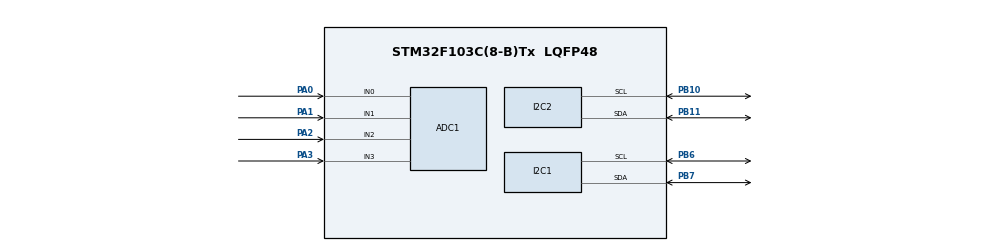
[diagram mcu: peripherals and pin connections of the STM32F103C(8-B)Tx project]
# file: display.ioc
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ADC1.Channel-0\#ChannelRegularConversion=ADC_CHANNEL_0
ADC1.Channel-1\#ChannelRegularConversion=ADC_CHANNEL_1
ADC1.Channel-2\#ChannelRegularConversion=ADC_CHANNEL_2
ADC1.Channel-3\#ChannelRegularConversion=ADC_CHANNEL_3
ADC1.ContinuousConvMode=ENABLE
ADC1.NbrOfConversion=4
ADC1.NbrOfConversionFlag=1
ADC1.Rank-0\#ChannelRegularConversion=1
ADC1.Rank-1\#ChannelRegularConversion=2
ADC1.Rank-2\#ChannelRegularConversion=3
ADC1.Rank-3\#ChannelRegularConversion=4
ADC1.SamplingTime-0\#ChannelRegularConversion=ADC_SAMPLETIME_13CYCLES_5
ADC1.SamplingTime-1\#ChannelRegularConversion=ADC_SAMPLETIME_13CYCLES_5
ADC1.SamplingTime-2\#ChannelRegularConversion=ADC_SAMPLETIME_13CYCLES_5
ADC1.SamplingTime-3\#ChannelRegularConversion=ADC_SAMPLETIME_13CYCLES_5
ADC1.master=1
Dma.ADC1.0.Direction=DMA_PERIPH_TO_MEMORY
Dma.ADC1.0.Instance=DMA1_Channel1
Dma.ADC1.0.MemDataAlignment=DMA_MDATAALIGN_WORD
Dma.ADC1.0.MemInc=DMA_MINC_ENABLE
Dma.ADC1.0.Mode=DMA_CIRCULAR
Dma.ADC1.0.PeriphDataAlignment=DMA_PDATAALIGN_WORD
Dma.ADC1.0.PeriphInc=DMA_PINC_DISABLE
Dma.ADC1.0.Priority=DMA_PRIORITY_LOW
Dma.Request0=ADC1
I2C1.I2C_Mode=I2C_Fast
Mcu.Family=STM32F1
Mcu.Name=STM32F103C(8-B)Tx
Mcu.Package=LQFP48
NVIC.DMA1_Channel1_IRQn=true\:0\:0\:false\:false\:true\:false\:true
NVIC.I2C1_ER_IRQn=true\:0\:0\:false\:false\:true\:true\:true
NVIC.I2C2_ER_IRQn=true\:0\:0\:false\:false\:true\:true\:true
NVIC.PriorityGroup=NVIC_PRIORITYGROUP_4
PA0-WKUP.Signal=ADCx_IN0
PA1.Signal=ADCx_IN1
PA2.Signal=ADCx_IN2
PA3.Signal=ADCx_IN3
PB10.Mode=I2C
PB10.Signal=I2C2_SCL
PB11.Mode=I2C
PB11.Signal=I2C2_SDA
PB6.Mode=I2C
PB6.Signal=I2C1_SCL
PB7.Mode=I2C
PB7.Signal=I2C1_SDA
ProjectManager.HeapSize=0x200
ProjectManager.StackSize=0x400
ProjectManager.TargetToolchain=STM32CubeIDE
RCC.ADCPresc=RCC_ADCPCLK2_DIV8
RCC.APB1Freq_Value=8000000
RCC.APB2CLKDivider=RCC_HCLK_DIV4
RCC.APB2Freq_Value=2000000
RCC.APB2TimFreq_Value=4000000
SH.ADCx_IN0.0=ADC1_IN0,IN0
SH.ADCx_IN1.0=ADC1_IN1,IN1
SH.ADCx_IN2.0=ADC1_IN2,IN2
SH.ADCx_IN3.0=ADC1_IN3,IN3
VP_SYS_VS_ND.Mode=No_Debug
board=custom

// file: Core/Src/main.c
/* USER CODE BEGIN Header */
/**
  ******************************************************************************
  * @file           : main.c
  * @brief          : Main program body
  ******************************************************************************
  * @attention
  *
  * Copyright (c) 2021 STMicroelectronics.
  * All rights reserved.
  *
  * This software is licensed under terms that can be found in the LICENSE file
  * in the root directory of this software component.
  * If no LICENSE file comes with this software, it is provided AS-IS.
  *
  ******************************************************************************
  */
/* USER CODE END Header */
#include "main.h"

/* USER CODE BEGIN Includes */
#include "ssd1306.h"
#include "fonts.h"
/* USER CODE END Includes */

ADC_HandleTypeDef hadc1;

I2C_HandleTypeDef hi2c1;
I2C_HandleTypeDef hi2c2;

void SystemClock_Config(void);
static void MX_GPIO_Init(void);
static void MX_I2C1_Init(void);
static void MX_I2C2_Init(void);
static void MX_ADC1_Init(void);

/* USER CODE BEGIN 0 */

float t = 0;
float p = 0;
uint8_t pointer_p1 = 0x01;
uint8_t dataDAC [3] = {0x40, 0xFF, 0xFF};

char* trimm(float f)
{
	static char trimmed [4];

	f *= 100;
	uint16_t g = f;
	itoa(g, trimmed, 10);

	if(g<10)
	{
		trimmed[3] = trimmed[0];
		trimmed[2] = '0';
		trimmed[1] = '0';
		trimmed[0] = ' ';

	}
	if((g<100)&&(g>9))
	{
		trimmed[3] = trimmed[1];
		trimmed[2] = trimmed[0];
		trimmed[1] = '0';
		trimmed[0] = ' ';

	}
	if((g<1000)&&(g>99))
	{
		for(uint8_t i = 3; i>0; i--)
		{
			trimmed[i] = trimmed[i-1];
		}
		trimmed[0] = ' ';

	}

	return trimmed;
}
void drawlogoC (uint8_t x, uint8_t y){
	  SSD1306_DrawLine((5+x), (y+5), (5+x), (y+11), 1);
	  SSD1306_DrawLine((6+x), (y+3), (6+x), (y+13), 1);
	  SSD1306_DrawLine((7+x), (y+3), (7+x), (y+5), 1);
	  SSD1306_DrawLine((7+x), (y+11), (7+x), (y+13), 1);
	  SSD1306_DrawLine((8+x), (y+14), (10+x), (y+14), 1);
	  SSD1306_DrawLine((8+x), (y+13), (10+x), (y+13), 1);
	  SSD1306_DrawLine((8+x), (y+2), (10+x), (y+2), 1);
	  SSD1306_DrawLine((8+x), (y+3), (10+x), (y+3), 1);
	  SSD1306_DrawLine((11+x), (y+3), (11+x), (y+4), 1);
	  SSD1306_DrawLine((11+x), (y+13), (11+x), (y+12), 1);
	  SSD1306_DrawLine((12+x), (y+4), (12+x), (y+6), 1);
	  SSD1306_DrawLine((12+x), (y+12), (12+x), (y+10), 1);
}
void drawmenu1(uint8_t cursorm1, uint8_t cvcc, float x, float y)
{
	  SSD1306_Clear();
	  cursorm1 = ~cursorm1;
	  char* mecha = trimm(y);
	  SSD1306_GotoXY (26,3);
	  SSD1306_Putc (mecha[0], &Font_11x18, ((cursorm1 & 0x08)>>3));
	  SSD1306_GotoXY (37,3);
	  SSD1306_Putc (mecha[1], &Font_11x18, ((cursorm1 & 0x04)>>2));
	  SSD1306_GotoXY (48,3);
	  SSD1306_Putc(',', &Font_11x18, 1);
	  SSD1306_GotoXY (59,3);
	  SSD1306_Putc (mecha[2], &Font_11x18, ((cursorm1 & 0x02)>>1));
	  SSD1306_GotoXY (70,3);
	  SSD1306_Putc (mecha[3], &Font_11x18, (cursorm1 & 0x01));
	  SSD1306_GotoXY (107,3);
	  SSD1306_Putc('V', &Font_11x18, 1);
	  char* proud = trimm(x);
	  SSD1306_GotoXY (26,25);
	  SSD1306_Putc (proud[0], &Font_11x18, ((cursorm1 & 0x80)>>7));
	  SSD1306_GotoXY (37,25);
	  SSD1306_Putc (proud[1], &Font_11x18, ((cursorm1 & 0x40)>>6));
	  SSD1306_GotoXY (48,25);
	  SSD1306_Putc(',', &Font_11x18, 1);
	  SSD1306_GotoXY (59,25);
	  SSD1306_Putc (proud[2], &Font_11x18, ((cursorm1 & 0x20)>>5));
	  SSD1306_GotoXY (70,25);
	  SSD1306_Putc (proud[3], &Font_11x18, ((cursorm1 & 0x10)>>4));
	  SSD1306_GotoXY (107,25);
	  SSD1306_Putc('A', &Font_11x18, 1);
	  uint8_t xcvcc = 0;
	  uint8_t ycvcc = 0;
	  if (cvcc) {
		  xcvcc = 81;
		  ycvcc = 45;
		  drawlogoC(92, ycvcc);
		  SSD1306_DrawLine((5+xcvcc), (ycvcc+2), (5+xcvcc), (ycvcc+6), 1);
		  SSD1306_DrawLine((13+xcvcc), (ycvcc+2), (13+xcvcc), (ycvcc+6), 1);
		  SSD1306_DrawLine((6+xcvcc), (ycvcc+2), (6+xcvcc), (ycvcc+11), 1);
		  SSD1306_DrawLine((12+xcvcc), (ycvcc+2), (12+xcvcc), (ycvcc+11), 1);
		  SSD1306_DrawLine((7+xcvcc), (ycvcc+6), (7+xcvcc), (ycvcc+13), 1);
		  SSD1306_DrawLine((11+xcvcc), (ycvcc+6), (11+xcvcc), (ycvcc+13), 1);
		  SSD1306_DrawLine((8+xcvcc), (ycvcc+11), (8+xcvcc), (ycvcc+14), 1);
		  SSD1306_DrawLine((10+xcvcc), (ycvcc+11), (10+xcvcc), (ycvcc+14), 1);
		  SSD1306_DrawPixel((9+xcvcc), (ycvcc+13), 1);
		  SSD1306_DrawPixel((9+xcvcc), (ycvcc+14), 1);
	  } else {
		  xcvcc = 20;
		  ycvcc = 45;
		  drawlogoC(xcvcc, ycvcc);
		  drawlogoC((xcvcc+10), ycvcc);
	  }
	  SSD1306_DrawLine((2+xcvcc), ycvcc , (25+xcvcc), ycvcc, 1);
	  SSD1306_DrawLine(xcvcc, (ycvcc+2), xcvcc, (ycvcc+15), 1);
	  SSD1306_DrawLine((2+xcvcc), (ycvcc+17), (25+xcvcc), (ycvcc+17), 1);
	  SSD1306_DrawLine((27+xcvcc), (ycvcc+2), (27+xcvcc), (ycvcc+15), 1);
	  SSD1306_DrawPixel((1+xcvcc), (ycvcc+1), 1);
	  SSD1306_DrawPixel((1+xcvcc), (ycvcc+16), 1);
	  SSD1306_DrawPixel((26+xcvcc), (ycvcc+1), 1);
	  SSD1306_DrawPixel((26+xcvcc), (ycvcc+16), 1);

	  SSD1306_UpdateScreen(); // update screen
}
void setDAC1 (uint16_t data)
{
	dataDAC [1] = (data >> 4);
	dataDAC [2] = (data << 4) & 0xf0;
	HAL_I2C_Master_Transmit(&hi2c2, (0b1100001<<1), dataDAC, 3, 10);
}
/* USER CODE END 0 */

int main(void)
{

  /* MCU Configuration--------------------------------------------------------*/

  /* Reset of all peripherals, Initializes the Flash interface and the Systick. */
  HAL_Init();

  /* Configure the system clock */
  SystemClock_Config();

  /* Initialize all configured peripherals */
  MX_GPIO_Init();
  MX_I2C1_Init();
  MX_I2C2_Init();
  MX_ADC1_Init();
  /* USER CODE BEGIN 2 */
  SSD1306_Init();
  /* USER CODE END 2 */

  /* Infinite loop */
  /* USER CODE BEGIN WHILE */
  while (1)
  {
	  uint16_t val = 0;
	  drawmenu1(pointer_p1, 1,t, p);
	  p += 0.025;
	  pointer_p1 *= 2;
	  setDAC1(0x666);
	  HAL_ADC_Start(&hadc1);
	  HAL_ADC_PollForConversion(&hadc1, 1);
	  val = HAL_ADC_GetValue(&hadc1);
	  HAL_ADC_Stop(&hadc1);
	  t = val;
	  t = ((t*3.3)/4095)*2;
	  if(pointer_p1 == 0)
	  {
		  pointer_p1 = 1;
	  }
	  HAL_Delay(100);
    /* USER CODE END WHILE */

  }
}

void SystemClock_Config(void)
{
  RCC_OscInitTypeDef RCC_OscInitStruct = {0};
  RCC_ClkInitTypeDef RCC_ClkInitStruct = {0};
  RCC_PeriphCLKInitTypeDef PeriphClkInit = {0};

  /** Initializes the RCC Oscillators according to the specified parameters
  * in the RCC_OscInitTypeDef structure.
  */
  RCC_OscInitStruct.OscillatorType = RCC_OSCILLATORTYPE_HSI;
  RCC_OscInitStruct.HSIState = RCC_HSI_ON;
  RCC_OscInitStruct.HSICalibrationValue = RCC_HSICALIBRATION_DEFAULT;
  RCC_OscInitStruct.PLL.PLLState = RCC_PLL_NONE;
  if (HAL_RCC_OscConfig(&RCC_OscInitStruct) != HAL_OK)
  {
    Error_Handler();
  }
  /** Initializes the CPU, AHB and APB buses clocks
  */
  RCC_ClkInitStruct.ClockType = RCC_CLOCKTYPE_HCLK|RCC_CLOCKTYPE_SYSCLK
                              |RCC_CLOCKTYPE_PCLK1|RCC_CLOCKTYPE_PCLK2;
  RCC_ClkInitStruct.SYSCLKSource = RCC_SYSCLKSOURCE_HSI;
  RCC_ClkInitStruct.AHBCLKDivider = RCC_SYSCLK_DIV1;
  RCC_ClkInitStruct.APB1CLKDivider = RCC_HCLK_DIV1;
  RCC_ClkInitStruct.APB2CLKDivider = RCC_HCLK_DIV1;

  if (HAL_RCC_ClockConfig(&RCC_ClkInitStruct, FLASH_LATENCY_0) != HAL_OK)
  {
    Error_Handler();
  }
  PeriphClkInit.PeriphClockSelection = RCC_PERIPHCLK_ADC;
  PeriphClkInit.AdcClockSelection = RCC_ADCPCLK2_DIV2;
  if (HAL_RCCEx_PeriphCLKConfig(&PeriphClkInit) != HAL_OK)
  {
    Error_Handler();
  }
}

static void MX_ADC1_Init(void)
{

  ADC_ChannelConfTypeDef sConfig = {0};

  /** Common config
  */
  hadc1.Instance = ADC1;
  hadc1.Init.ScanConvMode = ADC_SCAN_DISABLE;
  hadc1.Init.ContinuousConvMode = DISABLE;
  hadc1.Init.DiscontinuousConvMode = DISABLE;
  hadc1.Init.ExternalTrigConv = ADC_SOFTWARE_START;
  hadc1.Init.DataAlign = ADC_DATAALIGN_RIGHT;
  hadc1.Init.NbrOfConversion = 1;
  if (HAL_ADC_Init(&hadc1) != HAL_OK)
  {
    Error_Handler();
  }
  /** Configure Regular Channel
  */
  sConfig.Channel = ADC_CHANNEL_0;
  sConfig.Rank = ADC_REGULAR_RANK_1;
  sConfig.SamplingTime = ADC_SAMPLETIME_1CYCLE_5;
  if (HAL_ADC_ConfigChannel(&hadc1, &sConfig) != HAL_OK)
  {
    Error_Handler();
  }

}

static void MX_I2C1_Init(void)
{

  hi2c1.Instance = I2C1;
  hi2c1.Init.ClockSpeed = 400000;
  hi2c1.Init.DutyCycle = I2C_DUTYCYCLE_2;
  hi2c1.Init.OwnAddress1 = 0;
  hi2c1.Init.AddressingMode = I2C_ADDRESSINGMODE_7BIT;
  hi2c1.Init.DualAddressMode = I2C_DUALADDRESS_DISABLE;
  hi2c1.Init.OwnAddress2 = 0;
  hi2c1.Init.GeneralCallMode = I2C_GENERALCALL_DISABLE;
  hi2c1.Init.NoStretchMode = I2C_NOSTRETCH_DISABLE;
  if (HAL_I2C_Init(&hi2c1) != HAL_OK)
  {
    Error_Handler();
  }

}

static void MX_I2C2_Init(void)
{

  hi2c2.Instance = I2C2;
  hi2c2.Init.ClockSpeed = 100000;
  hi2c2.Init.DutyCycle = I2C_DUTYCYCLE_2;
  hi2c2.Init.OwnAddress1 = 0;
  hi2c2.Init.AddressingMode = I2C_ADDRESSINGMODE_7BIT;
  hi2c2.Init.DualAddressMode = I2C_DUALADDRESS_DISABLE;
  hi2c2.Init.OwnAddress2 = 0;
  hi2c2.Init.GeneralCallMode = I2C_GENERALCALL_DISABLE;
  hi2c2.Init.NoStretchMode = I2C_NOSTRETCH_DISABLE;
  if (HAL_I2C_Init(&hi2c2) != HAL_OK)
  {
    Error_Handler();
  }

}

static void MX_GPIO_Init(void)
{

  /* GPIO Ports Clock Enable */
  __HAL_RCC_GPIOA_CLK_ENABLE();
  __HAL_RCC_GPIOB_CLK_ENABLE();

}

void Error_Handler(void)
{
  __disable_irq();
  while (1)
  {
  }
}
